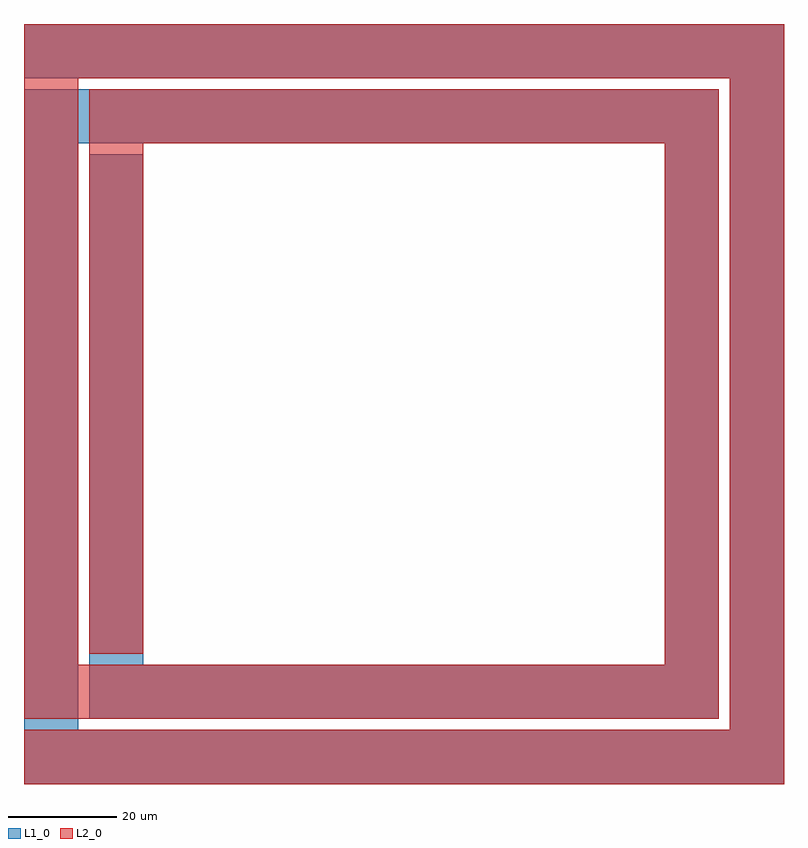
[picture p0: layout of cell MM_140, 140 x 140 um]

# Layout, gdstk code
import gdstk
lib = gdstk.Library(unit=1e-6, precision=1e-09)
def P(c, l, *ps):  # polygons
    for p in ps: c.add(gdstk.Polygon(p, *l))
L1_0 = (1, 0)
L2_0 = (2, 0)

mm_140 = lib.new_cell('MM_140')
P(mm_140, L1_0, [(100,230),(100,240),(240,240),(230,230)],
  [(240,100),(230,110),(230,230),(240,240)],
  [(100,100),(110,110),(230,110),(240,100)],
  [(100,100),(100,228),(110,218),(110,110)],
  [(110,218),(100,228),(228,228),(218,218)],
  [(228,112),(218,122),(218,218),(228,228)],
  [(112,112),(122,122),(218,122),(228,112)],
  [(112,112),(112,216),(122,216),(122,122)])
P(mm_140, L2_0, [(112,124),(112,228),(122,218),(122,124)],
  [(122,218),(112,228),(228,228),(218,218)],
  [(228,112),(218,122),(218,218),(228,228)],
  [(100,112),(110,122),(218,122),(228,112)],
  [(100,112),(100,240),(110,230),(110,122)],
  [(110,230),(100,240),(240,240),(230,230)],
  [(240,100),(230,110),(230,230),(240,240)],
  [(100,100),(100,110),(230,110),(240,100)])

lib.write_gds('MM_140.gds')
